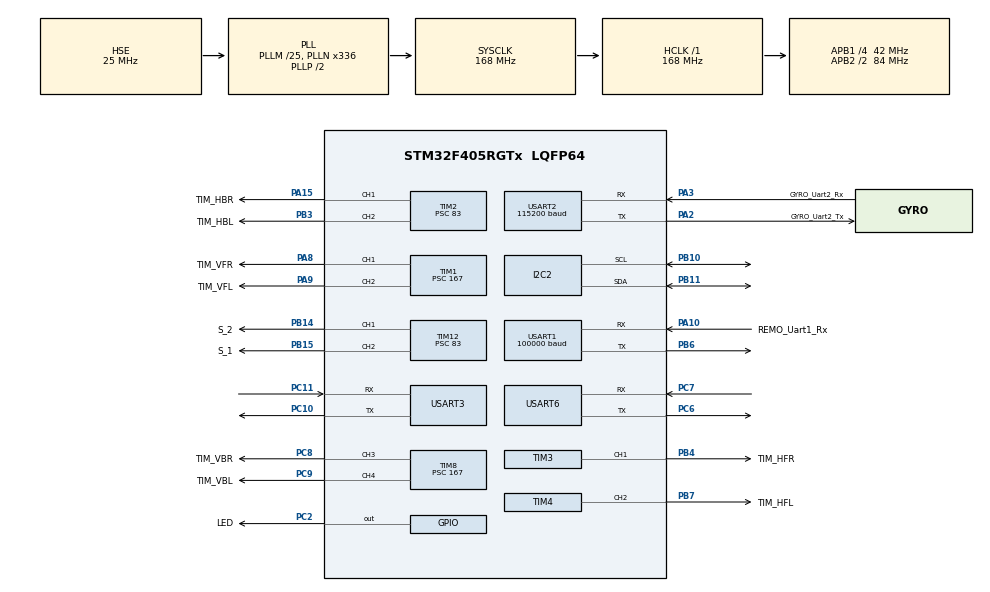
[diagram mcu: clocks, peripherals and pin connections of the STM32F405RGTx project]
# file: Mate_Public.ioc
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Dma.Request0=USART2_RX
Dma.Request1=USART2_TX
Dma.Request2=USART1_RX
Dma.Request3=USART6_RX
Dma.Request4=USART6_TX
Dma.Request5=USART3_RX
Dma.Request6=USART3_TX
Dma.USART1_RX.2.Direction=DMA_PERIPH_TO_MEMORY
Dma.USART1_RX.2.FIFOMode=DMA_FIFOMODE_DISABLE
Dma.USART1_RX.2.Instance=DMA2_Stream2
Dma.USART1_RX.2.MemDataAlignment=DMA_MDATAALIGN_BYTE
Dma.USART1_RX.2.MemInc=DMA_MINC_ENABLE
Dma.USART1_RX.2.Mode=DMA_NORMAL
Dma.USART1_RX.2.PeriphDataAlignment=DMA_PDATAALIGN_BYTE
Dma.USART1_RX.2.PeriphInc=DMA_PINC_DISABLE
Dma.USART1_RX.2.Priority=DMA_PRIORITY_LOW
Dma.USART2_RX.0.Direction=DMA_PERIPH_TO_MEMORY
Dma.USART2_RX.0.FIFOMode=DMA_FIFOMODE_DISABLE
Dma.USART2_RX.0.Instance=DMA1_Stream5
Dma.USART2_RX.0.MemDataAlignment=DMA_MDATAALIGN_BYTE
Dma.USART2_RX.0.MemInc=DMA_MINC_ENABLE
Dma.USART2_RX.0.Mode=DMA_CIRCULAR
Dma.USART2_RX.0.PeriphDataAlignment=DMA_PDATAALIGN_BYTE
Dma.USART2_RX.0.PeriphInc=DMA_PINC_DISABLE
Dma.USART2_RX.0.Priority=DMA_PRIORITY_VERY_HIGH
Dma.USART2_TX.1.Direction=DMA_MEMORY_TO_PERIPH
Dma.USART2_TX.1.FIFOMode=DMA_FIFOMODE_DISABLE
Dma.USART2_TX.1.Instance=DMA1_Stream6
Dma.USART2_TX.1.MemDataAlignment=DMA_MDATAALIGN_BYTE
Dma.USART2_TX.1.MemInc=DMA_MINC_ENABLE
Dma.USART2_TX.1.Mode=DMA_NORMAL
Dma.USART2_TX.1.PeriphDataAlignment=DMA_PDATAALIGN_BYTE
Dma.USART2_TX.1.PeriphInc=DMA_PINC_DISABLE
Dma.USART2_TX.1.Priority=DMA_PRIORITY_LOW
Dma.USART3_RX.5.Direction=DMA_PERIPH_TO_MEMORY
Dma.USART3_RX.5.FIFOMode=DMA_FIFOMODE_DISABLE
Dma.USART3_RX.5.Instance=DMA1_Stream1
Dma.USART3_RX.5.MemDataAlignment=DMA_MDATAALIGN_BYTE
Dma.USART3_RX.5.MemInc=DMA_MINC_ENABLE
Dma.USART3_RX.5.Mode=DMA_CIRCULAR
Dma.USART3_RX.5.PeriphDataAlignment=DMA_PDATAALIGN_BYTE
Dma.USART3_RX.5.PeriphInc=DMA_PINC_DISABLE
Dma.USART3_RX.5.Priority=DMA_PRIORITY_LOW
Dma.USART3_TX.6.Direction=DMA_MEMORY_TO_PERIPH
Dma.USART3_TX.6.FIFOMode=DMA_FIFOMODE_DISABLE
Dma.USART3_TX.6.Instance=DMA1_Stream3
Dma.USART3_TX.6.MemDataAlignment=DMA_MDATAALIGN_BYTE
Dma.USART3_TX.6.MemInc=DMA_MINC_ENABLE
Dma.USART3_TX.6.Mode=DMA_NORMAL
Dma.USART3_TX.6.PeriphDataAlignment=DMA_PDATAALIGN_BYTE
Dma.USART3_TX.6.PeriphInc=DMA_PINC_DISABLE
Dma.USART3_TX.6.Priority=DMA_PRIORITY_LOW
Dma.USART6_RX.3.Direction=DMA_PERIPH_TO_MEMORY
Dma.USART6_RX.3.FIFOMode=DMA_FIFOMODE_DISABLE
Dma.USART6_RX.3.Instance=DMA2_Stream1
Dma.USART6_RX.3.MemDataAlignment=DMA_MDATAALIGN_BYTE
Dma.USART6_RX.3.MemInc=DMA_MINC_ENABLE
Dma.USART6_RX.3.Mode=DMA_CIRCULAR
Dma.USART6_RX.3.PeriphDataAlignment=DMA_PDATAALIGN_BYTE
Dma.USART6_RX.3.PeriphInc=DMA_PINC_DISABLE
Dma.USART6_RX.3.Priority=DMA_PRIORITY_HIGH
Dma.USART6_TX.4.Direction=DMA_MEMORY_TO_PERIPH
Dma.USART6_TX.4.FIFOMode=DMA_FIFOMODE_DISABLE
Dma.USART6_TX.4.Instance=DMA2_Stream6
Dma.USART6_TX.4.MemDataAlignment=DMA_MDATAALIGN_BYTE
Dma.USART6_TX.4.MemInc=DMA_MINC_ENABLE
Dma.USART6_TX.4.Mode=DMA_NORMAL
Dma.USART6_TX.4.PeriphDataAlignment=DMA_PDATAALIGN_BYTE
Dma.USART6_TX.4.PeriphInc=DMA_PINC_DISABLE
Dma.USART6_TX.4.Priority=DMA_PRIORITY_HIGH
FREERTOS.BinarySemaphores01=sem_USART2_ISR_,Dynamic,NULL;sem_USART1_ISR_,Dynamic,NULL;sem_USART6_ISR_,Dynamic,NULL;sem_USART3_ISR_,Dynamic,NULL
FREERTOS.Tasks01=Thread_LED_,8,128,Thread_LED,Default,NULL,Dynamic,NULL,NULL;Thread_Remote_ISR_,49,128,Thread_Remote_ISR,Default,NULL,Dynamic,NULL,NULL;Thread_Gyro_ISR_,48,128,Thread_Gyro_ISR,Default,NULL,Dynamic,NULL,NULL;Thread_Gyro1_ISR_,48,128,Thread_Gyro1_ISR,Default,NULL,Dynamic,NULL,NULL;Thread_ReservedUart3_ISR_,8,128,Thread_ReservedUart3_ISR,Default,NULL,Dynamic,NULL,NULL;Thread_Depth_ISR_,48,128,Thread_Depth_ISR,Default,NULL,Dynamic,NULL,NULL;Thread_Chassis_,37,128,Thread_Chassis,Default,NULL,Dynamic,NULL,NULL;Thread_Attitude_,36,128,Thread_Attitude,Default,NULL,Dynamic,NULL,NULL;Thread_Claw_,35,128,Thread_Claw,Default,NULL,Dynamic,NULL,NULL
FREERTOS.configMAX_TASK_NAME_LEN=40
FREERTOS.configMINIMAL_STACK_SIZE=64
FREERTOS.configTOTAL_HEAP_SIZE=20480
Mcu.Family=STM32F4
Mcu.Name=STM32F405RGTx
Mcu.Package=LQFP64
NVIC.DMA1_Stream1_IRQn=true\:5\:0\:false\:false\:true\:true\:false\:true
NVIC.DMA1_Stream3_IRQn=true\:5\:0\:false\:false\:true\:true\:false\:true
NVIC.DMA1_Stream5_IRQn=true\:5\:0\:false\:false\:true\:true\:false\:true
NVIC.DMA1_Stream6_IRQn=true\:5\:0\:false\:false\:true\:true\:false\:true
NVIC.DMA2_Stream1_IRQn=true\:5\:0\:false\:false\:true\:true\:false\:true
NVIC.DMA2_Stream2_IRQn=true\:5\:0\:false\:false\:true\:true\:false\:true
NVIC.DMA2_Stream6_IRQn=true\:5\:0\:false\:false\:true\:true\:false\:true
NVIC.I2C2_EV_IRQn=true\:5\:0\:false\:false\:true\:true\:true\:true
NVIC.PriorityGroup=NVIC_PRIORITYGROUP_4
NVIC.TIM6_DAC_IRQn=true\:15\:0\:false\:false\:true\:false\:false\:true
NVIC.TimeBase=TIM6_DAC_IRQn
NVIC.TimeBaseIP=TIM6
NVIC.USART1_IRQn=true\:5\:0\:false\:false\:true\:true\:true\:true
NVIC.USART2_IRQn=true\:5\:0\:false\:false\:true\:true\:true\:true
NVIC.USART6_IRQn=true\:6\:0\:true\:false\:true\:true\:true\:true
PA10.GPIO_Label=REMO_Uart1_Rx
PA10.Mode=Asynchronous
PA10.Signal=USART1_RX
PA13.Mode=Serial_Wire
PA13.Signal=SYS_JTMS-SWDIO
PA14.Mode=Serial_Wire
PA14.Signal=SYS_JTCK-SWCLK
PA15.GPIO_Label=TIM_HBR
PA15.Signal=S_TIM2_CH1_ETR
PA2.GPIO_Label=GYRO_Uart2_Tx
PA2.GPIO_PuPd=GPIO_PULLUP
PA2.Mode=Asynchronous
PA2.Signal=USART2_TX
PA3.GPIO_Label=GYRO_Uart2_Rx
PA3.GPIO_PuPd=GPIO_PULLUP
PA3.Mode=Asynchronous
PA3.Signal=USART2_RX
PA8.GPIO_Label=TIM_VFR
PA8.Signal=S_TIM1_CH1
PA9.GPIO_Label=TIM_VFL
PA9.Signal=S_TIM1_CH2
PB10.GPIO_Pu=GPIO_PULLUP
PB10.Mode=I2C
PB10.Signal=I2C2_SCL
PB11.GPIO_Pu=GPIO_PULLUP
PB11.Mode=I2C
PB11.Signal=I2C2_SDA
PB14.GPIO_Label=S_2
PB14.Signal=S_TIM12_CH1
PB15.GPIO_Label=S_1
PB15.Signal=S_TIM12_CH2
PB3.GPIO_Label=TIM_HBL
PB3.Signal=S_TIM2_CH2
PB4.GPIO_Label=TIM_HFR
PB4.Signal=S_TIM3_CH1
PB6.GPIO_PuPd=GPIO_NOPULL
PB6.Mode=Asynchronous
PB6.Signal=USART1_TX
PB7.GPIO_Label=TIM_HFL
PB7.Signal=S_TIM4_CH2
PC10.Mode=Asynchronous
PC10.Signal=USART3_TX
PC11.Mode=Asynchronous
PC11.Signal=USART3_RX
PC2.GPIO_Label=LED
PC2.PinState=GPIO_PIN_SET
PC2.Signal=GPIO_Output
PC6.Mode=Asynchronous
PC6.Signal=USART6_TX
PC7.Mode=Asynchronous
PC7.Signal=USART6_RX
PC8.GPIO_Label=TIM_VBR
PC8.Signal=S_TIM8_CH3
PC9.GPIO_Label=TIM_VBL
PC9.Signal=S_TIM8_CH4
PH0-OSC_IN.Mode=HSE-External-Oscillator
PH0-OSC_IN.Signal=RCC_OSC_IN
PH1-OSC_OUT.Mode=HSE-External-Oscillator
PH1-OSC_OUT.Signal=RCC_OSC_OUT
ProjectManager.HeapSize=0x200
ProjectManager.StackSize=0x400
ProjectManager.TargetToolchain=MDK-ARM V5.32
RCC.48MHZClocksFreq_Value=84000000
RCC.AHBFreq_Value=168000000
RCC.APB1CLKDivider=RCC_HCLK_DIV4
RCC.APB1Freq_Value=42000000
RCC.APB1TimFreq_Value=84000000
RCC.APB2CLKDivider=RCC_HCLK_DIV2
RCC.APB2Freq_Value=84000000
RCC.APB2TimFreq_Value=168000000
RCC.CortexFreq_Value=168000000
RCC.HCLKFreq_Value=168000000
RCC.HSE_VALUE=25000000
RCC.HSI_VALUE=16000000
RCC.LSE_VALUE=32768
RCC.PLLM=25
RCC.PLLN=336
RCC.PLLSourceVirtual=RCC_PLLSOURCE_HSE
RCC.SYSCLKFreq_VALUE=168000000
RCC.SYSCLKSource=RCC_SYSCLKSOURCE_PLLCLK
RCC.VCOOutputFreq_Value=336000000
SH.S_TIM12_CH1.0=TIM12_CH1,PWM Generation1 CH1
SH.S_TIM12_CH2.0=TIM12_CH2,PWM Generation2 CH2
SH.S_TIM1_CH1.0=TIM1_CH1,PWM Generation1 CH1
SH.S_TIM1_CH2.0=TIM1_CH2,PWM Generation2 CH2
SH.S_TIM2_CH1_ETR.0=TIM2_CH1,PWM Generation1 CH1
SH.S_TIM2_CH2.0=TIM2_CH2,PWM Generation2 CH2
SH.S_TIM3_CH1.0=TIM3_CH1,PWM Generation1 CH1
SH.S_TIM4_CH2.0=TIM4_CH2,PWM Generation2 CH2
SH.S_TIM8_CH3.0=TIM8_CH3,PWM Generation3 CH3
SH.S_TIM8_CH4.0=TIM8_CH4,PWM Generation4 CH4
TIM1.Channel-PWM\ Generation1\ CH1=TIM_CHANNEL_1
TIM1.Channel-PWM\ Generation2\ CH2=TIM_CHANNEL_2
TIM1.Period=19999
TIM1.Prescaler=167
TIM12.Channel-PWM\ Generation1\ CH1=TIM_CHANNEL_1
TIM12.Channel-PWM\ Generation2\ CH2=TIM_CHANNEL_2
TIM12.Period=19999
TIM12.Prescaler=83
TIM2.Channel-PWM\ Generation1\ CH1=TIM_CHANNEL_1
TIM2.Channel-PWM\ Generation2\ CH2=TIM_CHANNEL_2
TIM2.Period=19999
TIM2.Prescaler=83
TIM3.Channel-PWM\ Generation1\ CH1=TIM_CHANNEL_1
TIM3.Period=19999
TIM3.Prescaler=83
TIM4.Channel-PWM\ Generation2\ CH2=TIM_CHANNEL_2
TIM4.Period=19999
TIM4.Prescaler=83
TIM8.Channel-PWM\ Generation3\ CH3=TIM_CHANNEL_3
TIM8.Channel-PWM\ Generation4\ CH4=TIM_CHANNEL_4
TIM8.Period=19999
TIM8.Prescaler=167
USART1.BaudRate=100000
USART1.Parity=PARITY_EVEN
USART1.VirtualMode=VM_ASYNC
USART1.WordLength=WORDLENGTH_9B
USART2.BaudRate=115200
USART2.Parity=PARITY_NONE
USART2.VirtualMode=VM_ASYNC
USART3.VirtualMode=VM_ASYNC
USART6.VirtualMode=VM_ASYNC
VP_FREERTOS_VS_CMSIS_V2.Mode=CMSIS_V2
VP_SYS_VS_tim6.Mode=TIM6
VP_TIM12_VS_ClockSourceINT.Mode=Internal
VP_TIM1_VS_ClockSourceINT.Mode=Internal
VP_TIM2_VS_ClockSourceINT.Mode=Internal
VP_TIM3_VS_ClockSourceINT.Mode=Internal
VP_TIM4_VS_ClockSourceINT.Mode=Internal
VP_TIM8_VS_ClockSourceINT.Mode=Internal
board=custom

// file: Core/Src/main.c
/* USER CODE BEGIN Header */
/**
  ******************************************************************************
  * @file           : main.c
  * @brief          : Main program body
  ******************************************************************************
  * @attention
  *
  * <h2><center>&copy; Copyright (c) 2022 STMicroelectronics.
  * All rights reserved.</center></h2>
  *
  * This software component is licensed by ST under Ultimate Liberty license
  * SLA0044, the "License"; You may not use this file except in compliance with
  * the License. You may obtain a copy of the License at:
  *                             www.st.com/SLA0044
  *
  ******************************************************************************
  */
/* USER CODE END Header */
#include "main.h"
#include "cmsis_os.h"
#include "dma.h"
#include "i2c.h"
#include "tim.h"
#include "usart.h"
#include "gpio.h"

void SystemClock_Config(void);
void MX_FREERTOS_Init(void);

int main(void)
{

  /* MCU Configuration--------------------------------------------------------*/

  /* Reset of all peripherals, Initializes the Flash interface and the Systick. */
  HAL_Init();

  /* Configure the system clock */
  SystemClock_Config();

  /* Initialize all configured peripherals */
  MX_GPIO_Init();
  MX_DMA_Init();
  MX_TIM1_Init();
  MX_TIM2_Init();
  MX_TIM3_Init();
  MX_TIM4_Init();
  MX_TIM8_Init();
  MX_TIM12_Init();
  MX_USART2_UART_Init();
  MX_USART3_UART_Init();
  MX_USART1_UART_Init();
  MX_USART6_UART_Init();
  MX_I2C2_Init();

  /* Init scheduler */
  osKernelInitialize();  /* Call init function for freertos objects (in freertos.c) */
  MX_FREERTOS_Init();
  /* Start scheduler */
  osKernelStart();

  /* We should never get here as control is now taken by the scheduler */
  /* Infinite loop */
  while (1)
  {

  }
}

void SystemClock_Config(void)
{
  RCC_OscInitTypeDef RCC_OscInitStruct = {0};
  RCC_ClkInitTypeDef RCC_ClkInitStruct = {0};

  /** Configure the main internal regulator output voltage
  */
  __HAL_RCC_PWR_CLK_ENABLE();
  __HAL_PWR_VOLTAGESCALING_CONFIG(PWR_REGULATOR_VOLTAGE_SCALE1);
  /** Initializes the RCC Oscillators according to the specified parameters
  * in the RCC_OscInitTypeDef structure.
  */
  RCC_OscInitStruct.OscillatorType = RCC_OSCILLATORTYPE_HSE;
  RCC_OscInitStruct.HSEState = RCC_HSE_ON;
  RCC_OscInitStruct.PLL.PLLState = RCC_PLL_ON;
  RCC_OscInitStruct.PLL.PLLSource = RCC_PLLSOURCE_HSE;
  RCC_OscInitStruct.PLL.PLLM = 25;
  RCC_OscInitStruct.PLL.PLLN = 336;
  RCC_OscInitStruct.PLL.PLLP = RCC_PLLP_DIV2;
  RCC_OscInitStruct.PLL.PLLQ = 4;
  if (HAL_RCC_OscConfig(&RCC_OscInitStruct) != HAL_OK)
  {
    Error_Handler();
  }
  /** Initializes the CPU, AHB and APB buses clocks
  */
  RCC_ClkInitStruct.ClockType = RCC_CLOCKTYPE_HCLK|RCC_CLOCKTYPE_SYSCLK
                              |RCC_CLOCKTYPE_PCLK1|RCC_CLOCKTYPE_PCLK2;
  RCC_ClkInitStruct.SYSCLKSource = RCC_SYSCLKSOURCE_PLLCLK;
  RCC_ClkInitStruct.AHBCLKDivider = RCC_SYSCLK_DIV1;
  RCC_ClkInitStruct.APB1CLKDivider = RCC_HCLK_DIV4;
  RCC_ClkInitStruct.APB2CLKDivider = RCC_HCLK_DIV2;

  if (HAL_RCC_ClockConfig(&RCC_ClkInitStruct, FLASH_LATENCY_5) != HAL_OK)
  {
    Error_Handler();
  }
}

void HAL_TIM_PeriodElapsedCallback(TIM_HandleTypeDef *htim)
{
  if (htim->Instance == TIM6) {
    HAL_IncTick();
  }
}

void Error_Handler(void)
{
  __disable_irq();
  while (1)
  {
  }
}

/************************ (C) COPYRIGHT STMicroelectronics *****END OF FILE****/

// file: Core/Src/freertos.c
/* USER CODE BEGIN Header */
/**
  ******************************************************************************
  * File Name          : freertos.c
  * Description        : Code for freertos applications
  ******************************************************************************
  * @attention
  *
  * <h2><center>&copy; Copyright (c) 2022 STMicroelectronics.
  * All rights reserved.</center></h2>
  *
  * This software component is licensed by ST under Ultimate Liberty license
  * SLA0044, the "License"; You may not use this file except in compliance with
  * the License. You may obtain a copy of the License at:
  *                             www.st.com/SLA0044
  *
  ******************************************************************************
  */
/* USER CODE END Header */

#include "FreeRTOS.h"
#include "task.h"
#include "main.h"
#include "cmsis_os.h"

/* USER CODE BEGIN Includes */
#include "RTOS.h"
#include "Variables.h"
/* USER CODE END Includes */

/* Definitions for Thread_LED_ */
osThreadId_t Thread_LED_Handle;
const osThreadAttr_t Thread_LED__attributes = {
  .name = "Thread_LED_",
  .stack_size = 128 * 4,
  .priority = (osPriority_t) osPriorityLow,
};
/* Definitions for Thread_Remote_ISR_ */
osThreadId_t Thread_Remote_ISR_Handle;
const osThreadAttr_t Thread_Remote_ISR__attributes = {
  .name = "Thread_Remote_ISR_",
  .stack_size = 128 * 4,
  .priority = (osPriority_t) osPriorityRealtime1,
};
/* Definitions for Thread_Gyro_ISR_ */
osThreadId_t Thread_Gyro_ISR_Handle;
const osThreadAttr_t Thread_Gyro_ISR__attributes = {
  .name = "Thread_Gyro_ISR_",
  .stack_size = 128 * 4,
  .priority = (osPriority_t) osPriorityRealtime,
};
/* Definitions for Thread_Gyro1_ISR_ */
osThreadId_t Thread_Gyro1_ISR_Handle;
const osThreadAttr_t Thread_Gyro1_ISR__attributes = {
  .name = "Thread_Gyro1_ISR_",
  .stack_size = 128 * 4,
  .priority = (osPriority_t) osPriorityRealtime,
};
/* Definitions for Thread_ReservedUart3_ISR_ */
osThreadId_t Thread_ReservedUart3_ISR_Handle;
const osThreadAttr_t Thread_ReservedUart3_ISR__attributes = {
  .name = "Thread_ReservedUart3_ISR_",
  .stack_size = 128 * 4,
  .priority = (osPriority_t) osPriorityLow,
};
/* Definitions for Thread_Depth_ISR_ */
osThreadId_t Thread_Depth_ISR_Handle;
const osThreadAttr_t Thread_Depth_ISR__attributes = {
  .name = "Thread_Depth_ISR_",
  .stack_size = 128 * 4,
  .priority = (osPriority_t) osPriorityRealtime,
};
/* Definitions for Thread_Chassis_ */
osThreadId_t Thread_Chassis_Handle;
const osThreadAttr_t Thread_Chassis__attributes = {
  .name = "Thread_Chassis_",
  .stack_size = 128 * 4,
  .priority = (osPriority_t) osPriorityAboveNormal5,
};
/* Definitions for Thread_Attitude_ */
osThreadId_t Thread_Attitude_Handle;
const osThreadAttr_t Thread_Attitude__attributes = {
  .name = "Thread_Attitude_",
  .stack_size = 128 * 4,
  .priority = (osPriority_t) osPriorityAboveNormal4,
};
/* Definitions for Thread_Claw_ */
osThreadId_t Thread_Claw_Handle;
const osThreadAttr_t Thread_Claw__attributes = {
  .name = "Thread_Claw_",
  .stack_size = 128 * 4,
  .priority = (osPriority_t) osPriorityAboveNormal3,
};
/* Definitions for sem_USART2_ISR_ */
osSemaphoreId_t sem_USART2_ISR_Handle;
const osSemaphoreAttr_t sem_USART2_ISR__attributes = {
  .name = "sem_USART2_ISR_"
};
/* Definitions for sem_USART1_ISR_ */
osSemaphoreId_t sem_USART1_ISR_Handle;
const osSemaphoreAttr_t sem_USART1_ISR__attributes = {
  .name = "sem_USART1_ISR_"
};
/* Definitions for sem_USART6_ISR_ */
osSemaphoreId_t sem_USART6_ISR_Handle;
const osSemaphoreAttr_t sem_USART6_ISR__attributes = {
  .name = "sem_USART6_ISR_"
};
/* Definitions for sem_USART3_ISR_ */
osSemaphoreId_t sem_USART3_ISR_Handle;
const osSemaphoreAttr_t sem_USART3_ISR__attributes = {
  .name = "sem_USART3_ISR_"
};

void Thread_LED(void *argument);
void Thread_Remote_ISR(void *argument);
void Thread_Gyro_ISR(void *argument);
void Thread_Gyro1_ISR(void *argument);
void Thread_ReservedUart3_ISR(void *argument);
void Thread_Depth_ISR(void *argument);
void Thread_Chassis(void *argument);
void Thread_Attitude(void *argument);
void Thread_Claw(void *argument);

void MX_FREERTOS_Init(void); /* (MISRA C 2004 rule 8.1) */

void MX_FREERTOS_Init(void) {

  /* Create the semaphores(s) */
  /* creation of sem_USART2_ISR_ */
  sem_USART2_ISR_Handle = osSemaphoreNew(1, 1, &sem_USART2_ISR__attributes);

  /* creation of sem_USART1_ISR_ */
  sem_USART1_ISR_Handle = osSemaphoreNew(1, 1, &sem_USART1_ISR__attributes);

  /* creation of sem_USART6_ISR_ */
  sem_USART6_ISR_Handle = osSemaphoreNew(1, 1, &sem_USART6_ISR__attributes);

  /* creation of sem_USART3_ISR_ */
  sem_USART3_ISR_Handle = osSemaphoreNew(1, 1, &sem_USART3_ISR__attributes);

  /* Create the thread(s) */
  /* creation of Thread_LED_ */
  Thread_LED_Handle = osThreadNew(Thread_LED, NULL, &Thread_LED__attributes);

  /* creation of Thread_Remote_ISR_ */
  Thread_Remote_ISR_Handle = osThreadNew(Thread_Remote_ISR, NULL, &Thread_Remote_ISR__attributes);

  /* creation of Thread_Gyro_ISR_ */
  Thread_Gyro_ISR_Handle = osThreadNew(Thread_Gyro_ISR, NULL, &Thread_Gyro_ISR__attributes);

  /* creation of Thread_Gyro1_ISR_ */
  Thread_Gyro1_ISR_Handle = osThreadNew(Thread_Gyro1_ISR, NULL, &Thread_Gyro1_ISR__attributes);

  /* creation of Thread_ReservedUart3_ISR_ */
  Thread_ReservedUart3_ISR_Handle = osThreadNew(Thread_ReservedUart3_ISR, NULL, &Thread_ReservedUart3_ISR__attributes);

  /* creation of Thread_Depth_ISR_ */
  Thread_Depth_ISR_Handle = osThreadNew(Thread_Depth_ISR, NULL, &Thread_Depth_ISR__attributes);

  /* creation of Thread_Chassis_ */
  Thread_Chassis_Handle = osThreadNew(Thread_Chassis, NULL, &Thread_Chassis__attributes);

  /* creation of Thread_Attitude_ */
  Thread_Attitude_Handle = osThreadNew(Thread_Attitude, NULL, &Thread_Attitude__attributes);

  /* creation of Thread_Claw_ */
  Thread_Claw_Handle = osThreadNew(Thread_Claw, NULL, &Thread_Claw__attributes);

}

void Thread_LED(void *argument)
{
  /* USER CODE BEGIN Thread_LED */
  /* Infinite loop */
  for(;;)
  {
		HAL_GPIO_TogglePin(LED_GPIO_Port, LED_Pin) ;
		HAL_Delay(100) ;
		HAL_GPIO_TogglePin(LED_GPIO_Port, LED_Pin) ;
    osDelay(1000);
  }
  /* USER CODE END Thread_LED */
}

void Thread_Remote_ISR(void *argument)
{
  /* USER CODE BEGIN Thread_Remote_ISR */
	osStatus_t val ;
  /* Infinite loop */
  for(;;)
  {
		val = osSemaphoreAcquire(sem_USART1_ISR_Handle, 1000) ;
		switch(val)
		{
			case osOK :
			{
				/* 遥控器正常接收处理 */
				REMO_GetData(&REMO_Data) ;
				RemoteTaskControl(&RemoteDataPort);
				break ;
			}
			default :
			{
				/* 遥控器接收超时处理 （关控保护）*/
				break ;
			}
		}
  }
  /* USER CODE END Thread_Remote_ISR */
}

void Thread_Gyro_ISR(void *argument)
{
  /* USER CODE BEGIN Thread_Gyro_ISR */
	osStatus_t val ;
  /* Infinite loop */
  for(;;)
  {
    val = osSemaphoreAcquire(sem_USART2_ISR_Handle, 1000) ;
		switch(val)
		{
			case osOK :
			{
				/* 陀螺仪 JY901S 正常接收处理 */
				GYRO_GetData(&GYRO_Data) ;
				break ;
			}
			default :
			{
				/* 陀螺仪 JY901S 接收超时处理 */
				break ;
			}
		}
  }
  /* USER CODE END Thread_Gyro_ISR */
}

void Thread_Gyro1_ISR(void *argument)
{
  /* USER CODE BEGIN Thread_Gyro1_ISR */
	osStatus_t val ;
  /* Infinite loop */
  for(;;)
  {
    val = osSemaphoreAcquire(sem_USART6_ISR_Handle, 1000) ;
		switch(val)
		{
			case osOK :
			{
				/* 板载陀螺仪正常接收处理 */
				get_HI229UMGyroData(&GYRO1_DATA);
				break ;
			}
			default :
			{
				/* 板载陀螺仪接收超时处理 */
				break ;
			}
		}
  }
  /* USER CODE END Thread_Gyro1_ISR */
}

void Thread_ReservedUart3_ISR(void *argument)
{
  for(;;)
  {
    osDelay(1);
  }
}

void Thread_Depth_ISR(void *argument)
{
  for(;;)
  {
    osDelay(1);
  }
}

void Thread_Chassis(void *argument)
{
  for(;;)
  {
    osDelay(1);
  }
}

void Thread_Attitude(void *argument)
{
  for(;;)
  {
    osDelay(1);
  }
}

void Thread_Claw(void *argument)
{
  for(;;)
  {
    osDelay(1);
  }
}

/************************ (C) COPYRIGHT STMicroelectronics *****END OF FILE****/
